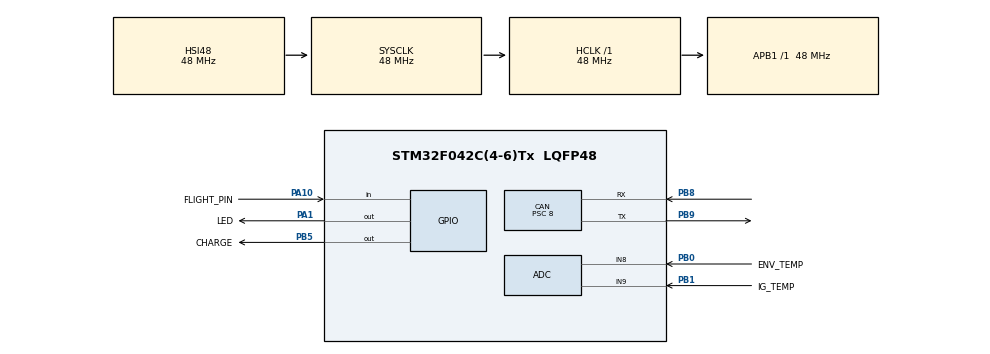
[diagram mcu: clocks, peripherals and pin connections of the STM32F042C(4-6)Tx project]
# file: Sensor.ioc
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ADC.ClockPrescaler=ADC_CLOCK_ASYNC_DIV1
ADC.ContinuousConvMode=ENABLE
ADC.DMAContinuousRequests=ENABLE
ADC.SamplingTime=ADC_SAMPLETIME_1CYCLE_5
CAN.BS1=CAN_BS1_4TQ
CAN.CalculateBaudRate=1000000
CAN.CalculateTimeBit=1000
CAN.CalculateTimeQuantum=166.66666666666666
CAN.Prescaler=8
Dma.ADC.0.Direction=DMA_PERIPH_TO_MEMORY
Dma.ADC.0.Instance=DMA1_Channel1
Dma.ADC.0.MemDataAlignment=DMA_MDATAALIGN_HALFWORD
Dma.ADC.0.MemInc=DMA_MINC_ENABLE
Dma.ADC.0.Mode=DMA_CIRCULAR
Dma.ADC.0.PeriphDataAlignment=DMA_PDATAALIGN_HALFWORD
Dma.ADC.0.PeriphInc=DMA_PINC_DISABLE
Dma.ADC.0.Priority=DMA_PRIORITY_LOW
Dma.Request0=ADC
IWDG.Prescaler=IWDG_PRESCALER_16
IWDG.Reload=4095
IWDG.Window=4095
Mcu.Family=STM32F0
Mcu.Name=STM32F042C(4-6)Tx
Mcu.Package=LQFP48
NVIC.CEC_CAN_IRQn=true\:1\:0\:true\:false\:true\:true\:true\:true
NVIC.DMA1_Channel1_IRQn=true\:1\:0\:true\:false\:true\:false\:true\:true
NVIC.TIM14_IRQn=true\:3\:0\:true\:false\:true\:true\:true\:true
NVIC.TIM2_IRQn=true\:3\:0\:true\:false\:true\:true\:true\:true
PA1.GPIO_Label=LED
PA1.Signal=GPIO_Output
PA10.GPIO_Label=FLIGHT_PIN
PA10.Signal=GPIO_Input
PB0.GPIO_Label=ENV_TEMP
PB0.Mode=IN8
PB0.Signal=ADC_IN8
PB1.GPIO_Label=IG_TEMP
PB1.Mode=IN9
PB1.Signal=ADC_IN9
PB5.GPIO_Label=CHARGE
PB5.Signal=GPIO_Output
PB8.Mode=CAN_Activate
PB8.Signal=CAN_RX
PB9.Mode=CAN_Activate
PB9.Signal=CAN_TX
ProjectManager.HeapSize=0x200
ProjectManager.StackSize=0x400
ProjectManager.TargetToolchain=STM32CubeIDE
RCC.AHBFreq_Value=48000000
RCC.APB1Freq_Value=48000000
RCC.APB1TimFreq_Value=48000000
RCC.HCLKFreq_Value=48000000
RCC.SYSCLKFreq_VALUE=48000000
RCC.SYSCLKSource=RCC_SYSCLKSOURCE_HSI48
TIM14.Period=1000
TIM14.Prescaler=48000-1
TIM2.Period=100
TIM2.Prescaler=48000-1
VP_IWDG_VS_IWDG.Mode=IWDG_Activate
VP_TIM14_VS_ClockSourceINT.Mode=Enable_Timer
VP_TIM2_VS_ClockSourceINT.Mode=Internal
board=custom

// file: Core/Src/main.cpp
/* USER CODE BEGIN Header */
/**
  ******************************************************************************
  * @file           : main.c
  * @brief          : Main program body
  ******************************************************************************
  * @attention
  *
  * <h2><center>&copy; Copyright (c) 2020 STMicroelectronics.
  * All rights reserved.</center></h2>
  *
  * This software component is licensed by ST under BSD 3-Clause license,
  * the "License"; You may not use this file except in compliance with the
  * License. You may obtain a copy of the License at:
  *                        opensource.org/licenses/BSD-3-Clause
  *
  ******************************************************************************
  */
/* USER CODE END Header */
#include "main.h"

/* USER CODE BEGIN Includes */

#include <stdlib.h>
#include <cstdio>
#include <cmath>
#include "command.hpp"
#include "diagnostics.hpp"

/* USER CODE END Includes */

/* USER CODE BEGIN PD */

#define SENSOR_FREQ 10
#define MODE_FREQ 2

#define ENV_TH_R0 10000
#define IGN_TH_R0 10000
#define ENV_TH_T0 25
#define IGN_TH_T0 25
#define ENV_TH_B 3435
#define IGN_TH_B 3960
#define ENV_PULLDOWN 99800
#define IGN_PULLUP 46700

#define CAN_SEND_TIMEOUT_TICK 50

/* USER CODE END PD */

 ADC_HandleTypeDef hadc;
DMA_HandleTypeDef hdma_adc;

CAN_HandleTypeDef hcan;

IWDG_HandleTypeDef hiwdg;

TIM_HandleTypeDef htim2;
TIM_HandleTypeDef htim14;

/* USER CODE BEGIN PV */

Diagnostics diag(MODULE_SENSOR);

CANChannel can;

CAN_TxHeaderTypeDef   CanTxHeader;
CAN_RxHeaderTypeDef   CanRxHeader;
uint8_t               CanTxData[8];
uint8_t               CanRxData[8];
uint32_t              CanTxMailbox;

uint16_t adc_values[10];

float r_env;
float r_ign;
float env_temperature;
float igniter_temperature;

bool flight_mode = false;
bool env_temp_ok = true;
bool ign_temp_ok = true;
bool charging = false;

enum State {
	NoLaunch = 0,
	StandBy,
	CountDown,
	Igniting,
	Cancel,
	Complete,
};

/* USER CODE END PV */

void SystemClock_Config(void);
static void MX_GPIO_Init(void);
static void MX_CAN_Init(void);
static void MX_DMA_Init(void);
static void MX_IWDG_Init(void);
static void MX_ADC_Init(void);
static void MX_TIM2_Init(void);
static void MX_TIM14_Init(void);
/* USER CODE BEGIN PFP */

extern "C" void initialise_monitor_handles(void);
void CAN_Send();
void CAN_Received();

/* USER CODE END PFP */

/* USER CODE BEGIN 0 */

float CalcThermistor(float r, float B, float r0, float t0) {
	float right = log(r / r0) / B + 1 / (t0 + 273.15);
	return 1 / right - 273.15;
}

void HAL_TIM_PeriodElapsedCallback(TIM_HandleTypeDef *htim)
{
    if (htim == &htim2) { // Read sensors
    	float voltages[10];
    	for (int i = 0; i < 10; i++) {
    		voltages[i] = (float)adc_values[i] * 3.3 / 4095;
    	}

    	if (voltages[0] < 0.01) {

    	}

    	r_env = ENV_PULLDOWN * (3.3 / voltages[0] - 1);
    	r_ign = IGN_PULLUP * voltages[1] / (3.3 - voltages[1]);

    	env_temperature = CalcThermistor(r_env, ENV_TH_B, ENV_TH_R0, ENV_TH_T0);
    	igniter_temperature = CalcThermistor(r_ign, IGN_TH_B, IGN_TH_R0, IGN_TH_T0);;

		Command temp('T', 0, 0, 2);

		temp.entries[0].set('I', igniter_temperature);
		temp.entries[1].set('A', env_temperature);

		can.tx.push(temp);

		CAN_Send();

		diag.update(HAL_GetTick());

//		if (charging) {

//		HAL_GPIO_WritePin(CHARGE_GPIO_Port, CHARGE_Pin, GPIO_PIN_SET);

//		}

#ifndef DEBUG
	  HAL_IWDG_Refresh(&hiwdg);
#endif

    }
    else if (htim == &htim14) { // Send mode

    	flight_mode = !HAL_GPIO_ReadPin(FLIGHT_PIN_GPIO_Port, FLIGHT_PIN_Pin);

    	diag.setStatus(STATUS_0, !flight_mode);
    	diag.setStatus(STATUS_1, !env_temp_ok);
    	diag.setStatus(STATUS_2, !ign_temp_ok);
//    	diag.setStatus(STATUS_3, charging);

		Command flight('F', 0, 0, 2);

		if (flight_mode) flight.entries[0].set('F');
		else             flight.entries[0].set('S');

		flight.entries[1].set('0' + MODULE_SENSOR_N, (uint32_t)diag.encode());

		can.tx.push(flight);

		CAN_Send();

#ifdef DEBUG
		printf("Env: %d deg\n", (int)(env_temperature));
		printf("Ign: %d deg\n", (int)(igniter_temperature));
		printf("Flight: %d\n", flight_mode);

		diag.printSummary();
#endif

		HAL_GPIO_TogglePin(LED_GPIO_Port, LED_Pin);
    }
}

void CAN_Received() {
	uint32_t raw;
	int32_t mid = can.rx.getDiag(raw);
	if (mid >= 0) diag.update(mid, raw, HAL_GetTick());

	if (can.rx.id == 'M') {
		Payload p;
		if (can.rx.get('C', 0, p)) {
			uint8_t state = p.bytes[2];
			switch (state) {
			case NoLaunch:
			case StandBy:
			case CountDown:
			case Cancel:
				charging = true;
				break;
			case Igniting:
			case Complete:
				charging = false;
				break;
			}
		}
	}

}

/* USER CODE END 0 */

int main(void)
{
  /* USER CODE BEGIN 1 */
#ifdef DEBUG
  initialise_monitor_handles();
#endif
  /* USER CODE END 1 */

  /* MCU Configuration--------------------------------------------------------*/

  /* Reset of all peripherals, Initializes the Flash interface and the Systick. */
  HAL_Init();

  /* Configure the system clock */
  SystemClock_Config();

  /* Initialize all configured peripherals */
  MX_GPIO_Init();
  MX_CAN_Init();
  MX_DMA_Init();
  MX_IWDG_Init();
  MX_ADC_Init();
  MX_TIM2_Init();
  MX_TIM14_Init();
  /* USER CODE BEGIN 2 */

#ifdef DEBUG
  printf("Start\n");
#endif

  HAL_GPIO_WritePin(LED_GPIO_Port, LED_Pin, GPIO_PIN_RESET);

  HAL_ADCEx_Calibration_Start(&hadc);
  HAL_ADC_Start_DMA(&hadc, (uint32_t*)adc_values, 10);

  HAL_Delay(150);

  HAL_TIM_Base_Start_IT(&htim2);
  HAL_TIM_Base_Start_IT(&htim14);

//  HAL_GPIO_WritePin(IGNITER_TEMP_EN_GPIO_Port, IGNITER_TEMP_EN_Pin, GPIO_PIN_SET);

  HAL_GPIO_WritePin(LED_GPIO_Port, LED_Pin, GPIO_PIN_SET);

  /* USER CODE END 2 */

  /* Infinite loop */
  while (1)
  {

    /* USER CODE BEGIN 3 */

	  HAL_Delay(100);

//	  HAL_GPIO_TogglePin(LED_GPIO_Port, LED_Pin);
  }
  /* USER CODE END 3 */
}

void SystemClock_Config(void)
{
  RCC_OscInitTypeDef RCC_OscInitStruct = {0};
  RCC_ClkInitTypeDef RCC_ClkInitStruct = {0};

  /** Initializes the RCC Oscillators according to the specified parameters
  * in the RCC_OscInitTypeDef structure.
  */
  RCC_OscInitStruct.OscillatorType = RCC_OSCILLATORTYPE_HSI14|RCC_OSCILLATORTYPE_HSI48
                              |RCC_OSCILLATORTYPE_LSI;
  RCC_OscInitStruct.HSI48State = RCC_HSI48_ON;
  RCC_OscInitStruct.HSI14State = RCC_HSI14_ON;
  RCC_OscInitStruct.HSI14CalibrationValue = 16;
  RCC_OscInitStruct.LSIState = RCC_LSI_ON;
  RCC_OscInitStruct.PLL.PLLState = RCC_PLL_NONE;
  if (HAL_RCC_OscConfig(&RCC_OscInitStruct) != HAL_OK)
  {
    Error_Handler();
  }

  /** Initializes the CPU, AHB and APB buses clocks
  */
  RCC_ClkInitStruct.ClockType = RCC_CLOCKTYPE_HCLK|RCC_CLOCKTYPE_SYSCLK
                              |RCC_CLOCKTYPE_PCLK1;
  RCC_ClkInitStruct.SYSCLKSource = RCC_SYSCLKSOURCE_HSI48;
  RCC_ClkInitStruct.AHBCLKDivider = RCC_SYSCLK_DIV1;
  RCC_ClkInitStruct.APB1CLKDivider = RCC_HCLK_DIV1;

  if (HAL_RCC_ClockConfig(&RCC_ClkInitStruct, FLASH_LATENCY_1) != HAL_OK)
  {
    Error_Handler();
  }
}

static void MX_ADC_Init(void)
{

  ADC_ChannelConfTypeDef sConfig = {0};

  /** Configure the global features of the ADC (Clock, Resolution, Data Alignment and number of conversion)
  */
  hadc.Instance = ADC1;
  hadc.Init.ClockPrescaler = ADC_CLOCK_ASYNC_DIV1;
  hadc.Init.Resolution = ADC_RESOLUTION_12B;
  hadc.Init.DataAlign = ADC_DATAALIGN_RIGHT;
  hadc.Init.ScanConvMode = ADC_SCAN_DIRECTION_FORWARD;
  hadc.Init.EOCSelection = ADC_EOC_SINGLE_CONV;
  hadc.Init.LowPowerAutoWait = DISABLE;
  hadc.Init.LowPowerAutoPowerOff = DISABLE;
  hadc.Init.ContinuousConvMode = ENABLE;
  hadc.Init.DiscontinuousConvMode = DISABLE;
  hadc.Init.ExternalTrigConv = ADC_SOFTWARE_START;
  hadc.Init.ExternalTrigConvEdge = ADC_EXTERNALTRIGCONVEDGE_NONE;
  hadc.Init.DMAContinuousRequests = ENABLE;
  hadc.Init.Overrun = ADC_OVR_DATA_PRESERVED;
  if (HAL_ADC_Init(&hadc) != HAL_OK)
  {
    Error_Handler();
  }

  /** Configure for the selected ADC regular channel to be converted.
  */
  sConfig.Channel = ADC_CHANNEL_8;
  sConfig.Rank = ADC_RANK_CHANNEL_NUMBER;
  sConfig.SamplingTime = ADC_SAMPLETIME_1CYCLE_5;
  if (HAL_ADC_ConfigChannel(&hadc, &sConfig) != HAL_OK)
  {
    Error_Handler();
  }

  /** Configure for the selected ADC regular channel to be converted.
  */
  sConfig.Channel = ADC_CHANNEL_9;
  if (HAL_ADC_ConfigChannel(&hadc, &sConfig) != HAL_OK)
  {
    Error_Handler();
  }

}

static void MX_CAN_Init(void)
{

  hcan.Instance = CAN;
  hcan.Init.Prescaler = 24;
  hcan.Init.Mode = CAN_MODE_NORMAL;
  hcan.Init.SyncJumpWidth = CAN_SJW_1TQ;
  hcan.Init.TimeSeg1 = CAN_BS1_12TQ;
  hcan.Init.TimeSeg2 = CAN_BS2_3TQ;
  hcan.Init.TimeTriggeredMode = DISABLE;
  hcan.Init.AutoBusOff = DISABLE;
  hcan.Init.AutoWakeUp = DISABLE;
  hcan.Init.AutoRetransmission = ENABLE;
  hcan.Init.ReceiveFifoLocked = DISABLE;
  hcan.Init.TransmitFifoPriority = DISABLE;
  if (HAL_CAN_Init(&hcan) != HAL_OK)
  {
    Error_Handler();
  }
  /* USER CODE BEGIN CAN_Init 2 */

  CAN_FilterTypeDef filter0;
  uint32_t fId0   =  0x000 << 21;
  uint32_t fMask0 = (0x100 << 21) | 0x4;
  filter0.FilterIdHigh         = fId0 >> 16;
  filter0.FilterIdLow          = fId0;
  filter0.FilterMaskIdHigh     = fMask0 >> 16;
  filter0.FilterMaskIdLow      = fMask0;
  filter0.FilterScale          = CAN_FILTERSCALE_32BIT;
  filter0.FilterFIFOAssignment = CAN_FILTER_FIFO0;
  filter0.FilterBank           = 0;
  filter0.FilterMode           = CAN_FILTERMODE_IDMASK;
  filter0.FilterActivation     = ENABLE;
  if (HAL_CAN_ConfigFilter(&hcan, &filter0) != HAL_OK)
  {
	Error_Handler();
  }

  CAN_FilterTypeDef filter1;
  uint32_t fId1   =  0x100 << 21;
  uint32_t fMask1 = (0x100 << 21) | 0x4;
  filter1.FilterIdHigh         = fId1 >> 16;
  filter1.FilterIdLow          = fId1;
  filter1.FilterMaskIdHigh     = fMask1 >> 16;
  filter1.FilterMaskIdLow      = fMask1;
  filter1.FilterScale          = CAN_FILTERSCALE_32BIT;
  filter1.FilterFIFOAssignment = CAN_FILTER_FIFO1;
  filter1.FilterBank           = 2;
  filter1.FilterMode           = CAN_FILTERMODE_IDMASK;
  filter1.FilterActivation     = ENABLE;
  if (HAL_CAN_ConfigFilter(&hcan, &filter1) != HAL_OK)
  {
	Error_Handler();
  }

  if (HAL_CAN_Start(&hcan) != HAL_OK)
  {
    /* Start Error */
    Error_Handler();
  }

  if (HAL_CAN_ActivateNotification(&hcan, CAN_IT_RX_FIFO0_MSG_PENDING | CAN_IT_RX_FIFO1_MSG_PENDING) != HAL_OK)
  {
    /* Notification Error */
    Error_Handler();
  }

  CanTxHeader.RTR   = CAN_RTR_DATA;
  CanTxHeader.IDE   = CAN_ID_STD;
  CanTxHeader.TransmitGlobalTime = DISABLE;

  /* USER CODE END CAN_Init 2 */

}

static void MX_IWDG_Init(void)
{

  /* USER CODE BEGIN IWDG_Init 0 */

#ifdef DEBUG
  return;
#endif

  /* USER CODE END IWDG_Init 0 */

  hiwdg.Instance = IWDG;
  hiwdg.Init.Prescaler = IWDG_PRESCALER_16;
  hiwdg.Init.Window = 4095;
  hiwdg.Init.Reload = 4095;
  if (HAL_IWDG_Init(&hiwdg) != HAL_OK)
  {
    Error_Handler();
  }

}

static void MX_TIM2_Init(void)
{

  TIM_ClockConfigTypeDef sClockSourceConfig = {0};
  TIM_MasterConfigTypeDef sMasterConfig = {0};

  htim2.Instance = TIM2;
  htim2.Init.Prescaler = 48000 - 1;
  htim2.Init.CounterMode = TIM_COUNTERMODE_UP;
  htim2.Init.Period = 1000 / SENSOR_FREQ - 1;
  htim2.Init.ClockDivision = TIM_CLOCKDIVISION_DIV1;
  htim2.Init.AutoReloadPreload = TIM_AUTORELOAD_PRELOAD_DISABLE;
  if (HAL_TIM_Base_Init(&htim2) != HAL_OK)
  {
    Error_Handler();
  }
  sClockSourceConfig.ClockSource = TIM_CLOCKSOURCE_INTERNAL;
  if (HAL_TIM_ConfigClockSource(&htim2, &sClockSourceConfig) != HAL_OK)
  {
    Error_Handler();
  }
  sMasterConfig.MasterOutputTrigger = TIM_TRGO_RESET;
  sMasterConfig.MasterSlaveMode = TIM_MASTERSLAVEMODE_DISABLE;
  if (HAL_TIMEx_MasterConfigSynchronization(&htim2, &sMasterConfig) != HAL_OK)
  {
    Error_Handler();
  }

}

static void MX_TIM14_Init(void)
{

  htim14.Instance = TIM14;
  htim14.Init.Prescaler = 48000 - 1;
  htim14.Init.CounterMode = TIM_COUNTERMODE_UP;
  htim14.Init.Period = 1000 / MODE_FREQ - 1;
  htim14.Init.ClockDivision = TIM_CLOCKDIVISION_DIV1;
  htim14.Init.AutoReloadPreload = TIM_AUTORELOAD_PRELOAD_DISABLE;
  if (HAL_TIM_Base_Init(&htim14) != HAL_OK)
  {
    Error_Handler();
  }

}

static void MX_DMA_Init(void)
{

  /* DMA controller clock enable */
  __HAL_RCC_DMA1_CLK_ENABLE();

  /* DMA interrupt init */
  /* DMA1_Channel1_IRQn interrupt configuration */
  HAL_NVIC_SetPriority(DMA1_Channel1_IRQn, 1, 0);
  HAL_NVIC_EnableIRQ(DMA1_Channel1_IRQn);

}

static void MX_GPIO_Init(void)
{
  GPIO_InitTypeDef GPIO_InitStruct = {0};

  /* GPIO Ports Clock Enable */
  __HAL_RCC_GPIOA_CLK_ENABLE();
  __HAL_RCC_GPIOB_CLK_ENABLE();

  /*Configure GPIO pin Output Level */
  HAL_GPIO_WritePin(LED_GPIO_Port, LED_Pin, GPIO_PIN_RESET);

  /*Configure GPIO pin Output Level */
  HAL_GPIO_WritePin(CHARGE_GPIO_Port, CHARGE_Pin, GPIO_PIN_RESET);

  /*Configure GPIO pin : LED_Pin */
  GPIO_InitStruct.Pin = LED_Pin;
  GPIO_InitStruct.Mode = GPIO_MODE_OUTPUT_PP;
  GPIO_InitStruct.Pull = GPIO_NOPULL;
  GPIO_InitStruct.Speed = GPIO_SPEED_FREQ_LOW;
  HAL_GPIO_Init(LED_GPIO_Port, &GPIO_InitStruct);

  /*Configure GPIO pin : FLIGHT_PIN_Pin */
  GPIO_InitStruct.Pin = FLIGHT_PIN_Pin;
  GPIO_InitStruct.Mode = GPIO_MODE_INPUT;
  GPIO_InitStruct.Pull = GPIO_NOPULL;
  HAL_GPIO_Init(FLIGHT_PIN_GPIO_Port, &GPIO_InitStruct);

  /*Configure GPIO pin : CHARGE_Pin */
  GPIO_InitStruct.Pin = CHARGE_Pin;
  GPIO_InitStruct.Mode = GPIO_MODE_OUTPUT_PP;
  GPIO_InitStruct.Pull = GPIO_NOPULL;
  GPIO_InitStruct.Speed = GPIO_SPEED_FREQ_LOW;
  HAL_GPIO_Init(CHARGE_GPIO_Port, &GPIO_InitStruct);

}

void HAL_CAN_RxFifo0MsgPendingCallback(CAN_HandleTypeDef *hcan)
{
	/* Get RX message */
	if (HAL_CAN_GetRxMessage(hcan, CAN_RX_FIFO0, &CanRxHeader, CanRxData) != HAL_OK) {
		/* Reception Error */
		Error_Handler();
	}

	if (can.receive(CanRxHeader.StdId, CanRxData, CanRxHeader.DLC)) {
//		can.cancelSending();
		CAN_Received();
	}
}
void HAL_CAN_RxFifo1MsgPendingCallback(CAN_HandleTypeDef *hcan)
{
	/* Get RX message */
	if (HAL_CAN_GetRxMessage(hcan, CAN_RX_FIFO1, &CanRxHeader, CanRxData) != HAL_OK) {
		/* Reception Error */
		Error_Handler();
	}

	if (can.receive(CanRxHeader.StdId, CanRxData, CanRxHeader.DLC)) {
//		can.cancelSending();
		CAN_Received();
	}
}

/* USER CODE BEGIN 4 */

void CAN_Send() {
	while (true) {
		uint16_t std_id;
		uint8_t len;

		volatile uint32_t tick = HAL_GetTick();

		while (can.isReceiving()) {
			if (HAL_GetTick() - tick >= CAN_SEND_TIMEOUT_TICK) {
				can.cancelReceiving();
#ifdef DEBUG
				printf("BUSY\n");
#endif
			}
		}

		tick = HAL_GetTick();

		while (
//				HAL_GetTick() - tick <= 10 ||
				HAL_CAN_GetTxMailboxesFreeLevel(&hcan) != 3) {
			if (HAL_GetTick() - tick >= CAN_SEND_TIMEOUT_TICK) {
				HAL_CAN_AbortTxRequest(&hcan, CanTxMailbox);
				can.cancelSending();
#ifdef DEBUG
				printf("TIMEOUT\n");
#endif
				return;
			}
		}

		uint8_t remains = can.send(std_id, CanTxData, len);

		if (len == 0) return;

		CanTxHeader.StdId = std_id;
		CanTxHeader.DLC = len;

		if (HAL_CAN_AddTxMessage(&hcan, &CanTxHeader, CanTxData, &CanTxMailbox) != HAL_OK) {
			Error_Handler();
		}

//	#ifdef DEBUG
//		printf("Send %c(%x), %d: %c(%x) %x %x %x %x \n",
//				CanTxHeader.StdId, CanTxHeader.StdId, CanTxHeader.DLC,
//				CanTxData[0], CanTxData[0], CanTxData[1], CanTxData[2], CanTxData[3], CanTxData[4]);
//	#endif

		if (remains == 0) break;
	}
}

/* USER CODE END 4 */

void Error_Handler(void)
{
}
